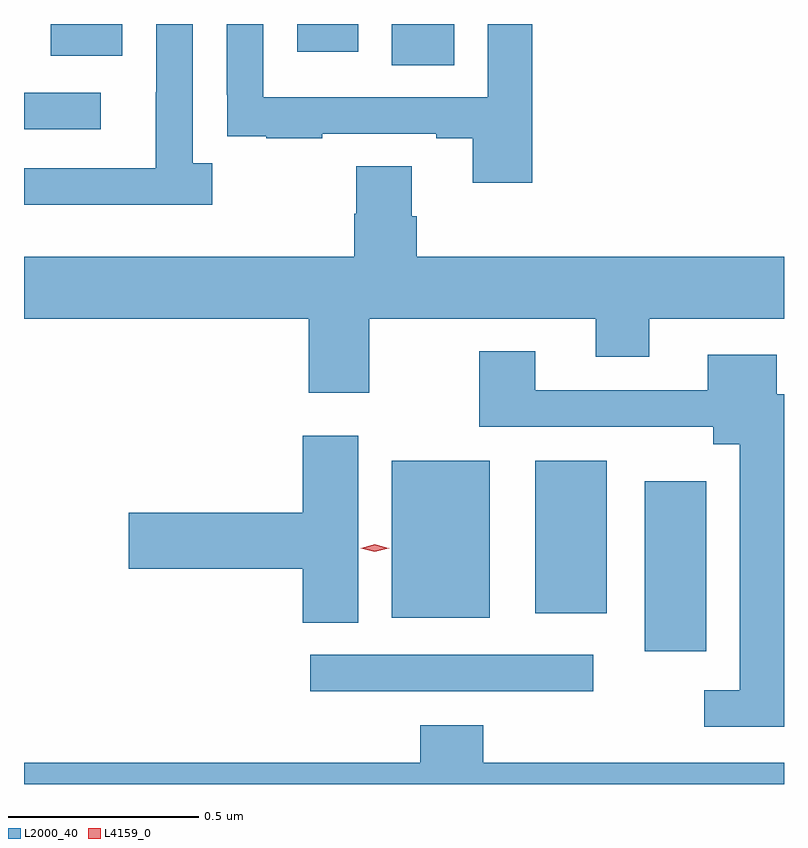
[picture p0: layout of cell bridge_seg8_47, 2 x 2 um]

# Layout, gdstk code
import gdstk
lib = gdstk.Library(unit=1e-6, precision=1e-09)
def R(c, l, rs):  # rectangles x0, y0, x1, y1
    for r in rs: c.add(gdstk.rectangle(r[:2], r[2:], *l))
def P(c, l, *ps):  # polygons
    for p in ps: c.add(gdstk.Polygon(p, *l))
L2000_40 = (2000, 40)
L4159_0 = (4159, 0)

bridge_seg8_47 = lib.new_cell('bridge_seg8_47')
R(bridge_seg8_47, L2000_40, [(1036.941,1107.528,1037.686,1107.624), (1037.822,1107.633,1037.983,1108.081), (1037.156,1107.722,1037.413,1108.135), (1037.534,1107.734,1037.722,1108.135), (1036.188,1109.007,1036.39,1109.103), (1037.156,1109.176,1037.32,1109.284), (1036.259,1109.201,1036.447,1109.284), (1036.907,1109.211,1037.068,1109.284)])
P(bridge_seg8_47, L2000_40, [(1036.684,1108.918),(1036.632,1108.918),(1036.632,1109.284),(1036.536,1109.284),(1036.536,1109.105),(1036.535,1109.105),(1036.535,1108.905),(1036.188,1108.905),(1036.188,1108.808),(1036.684,1108.808)],
  [(1037.525,1109.284),(1037.409,1109.284),(1037.409,1109.091),(1036.818,1109.091),(1036.818,1109.284),(1036.722,1109.284),(1036.722,1109.098),(1036.723,1109.098),(1036.723,1108.989),(1036.825,1108.989),(1036.825,1108.983),(1036.973,1108.983),(1036.973,1108.995),(1037.273,1108.995),(1037.273,1108.983),(1037.369,1108.983),(1037.369,1108.866),(1037.525,1108.866)],
  [(1037.097,1108.508),(1037.693,1108.508),(1037.693,1108.409),(1037.833,1108.409),(1037.833,1108.508),(1038.188,1108.508),(1038.188,1108.672),(1037.222,1108.672),(1037.222,1108.778),(1037.209,1108.778),(1037.209,1108.91),(1037.062,1108.91),(1037.062,1108.785),(1037.057,1108.785),(1037.057,1108.672),(1036.188,1108.672),(1036.188,1108.508),(1036.937,1108.508),(1036.937,1108.314),(1037.097,1108.314)],
  [(1038.188,1108.31),(1038.169,1108.31),(1038.169,1108.414),(1037.987,1108.414),(1037.987,1108.32),(1037.533,1108.32),(1037.533,1108.423),(1037.386,1108.423),(1037.386,1108.224),(1038.002,1108.224),(1038.002,1108.178),(1038.072,1108.178),(1038.072,1107.531),(1037.978,1107.531),(1037.978,1107.435),(1038.188,1107.435)],
  [(1037.068,1108.201),(1036.922,1108.201),(1036.922,1107.998),(1036.464,1107.998),(1036.464,1107.851),(1036.922,1107.851),(1036.922,1107.709),(1037.068,1107.709)],
  [(1038.188,1107.34),(1037.396,1107.34),(1037.396,1107.439),(1037.231,1107.439),(1037.231,1107.34),(1036.188,1107.34),(1036.188,1107.284),(1038.188,1107.284)])
P(bridge_seg8_47, L4159_0, [(1037.111,1107.895),(1037.074,1107.905),(1037.073,1107.905),(1037.074,1107.905),(1037.111,1107.915),(1037.148,1107.905),(1037.149,1107.905),(1037.148,1107.905)])

lib.write_gds('bridge_seg8_47.gds')
